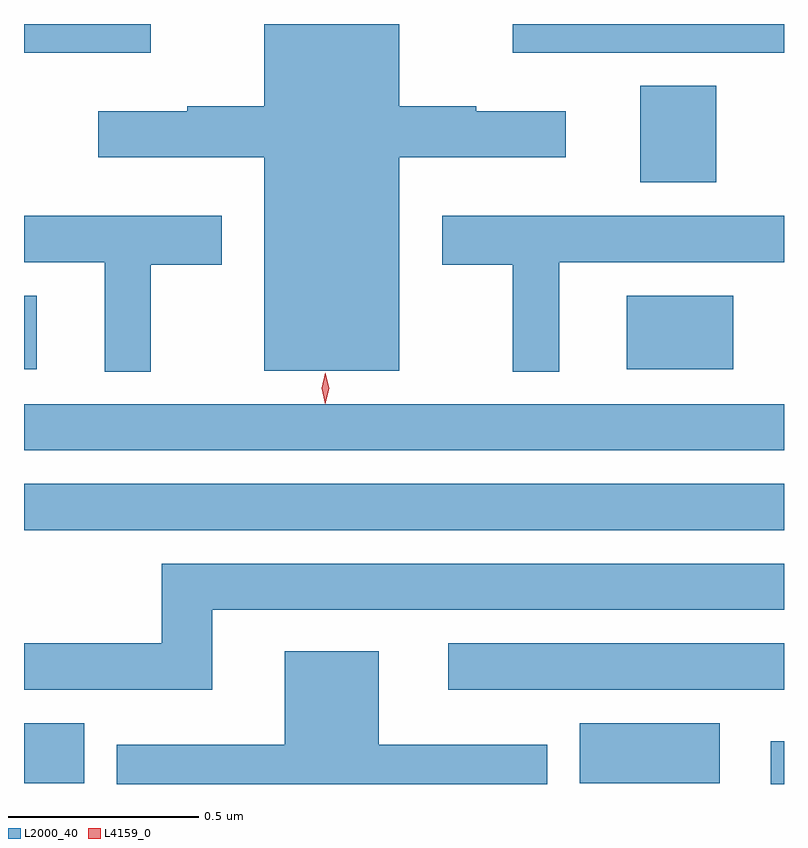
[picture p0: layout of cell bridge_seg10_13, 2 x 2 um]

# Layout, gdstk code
import gdstk
lib = gdstk.Library(unit=1e-6, precision=1e-09)
def R(c, l, rs):  # rectangles x0, y0, x1, y1
    for r in rs: c.add(gdstk.rectangle(r[:2], r[2:], *l))
def P(c, l, *ps):  # polygons
    for p in ps: c.add(gdstk.Polygon(p, *l))
L2000_40 = (2000, 40)
L4159_0 = (4159, 0)

bridge_seg10_13 = lib.new_cell('bridge_seg10_13')
R(bridge_seg10_13, L2000_40, [(1057.755,1277.322,1057.79,1277.434), (1055.79,1277.324,1055.949,1277.482), (1057.252,1277.324,1057.621,1277.482), (1056.906,1277.57,1057.79,1277.692), (1055.79,1277.99,1057.79,1278.112), (1055.79,1278.2,1057.79,1278.322), (1055.79,1278.413,1055.824,1278.607), (1057.376,1278.413,1057.657,1278.607), (1057.412,1278.905,1057.612,1279.159), (1055.79,1279.247,1056.124,1279.322), (1057.076,1279.247,1057.79,1279.322)])
P(bridge_seg10_13, L2000_40, [(1056.778,1278.971),(1057.216,1278.971),(1057.216,1279.093),(1056.98,1279.093),(1056.98,1279.106),(1056.778,1279.106),(1056.778,1279.322),(1056.422,1279.322),(1056.422,1279.106),(1056.22,1279.106),(1056.22,1279.093),(1055.985,1279.093),(1055.985,1278.971),(1056.422,1278.971),(1056.422,1278.41),(1056.778,1278.41)],
  [(1057.198,1278.695),(1057.79,1278.695),(1057.79,1278.817),(1056.891,1278.817),(1056.891,1278.688),(1057.076,1278.688),(1057.076,1278.407),(1057.198,1278.407)],
  [(1056.124,1278.688),(1056.31,1278.688),(1056.31,1278.817),(1055.79,1278.817),(1055.79,1278.695),(1056.002,1278.695),(1056.002,1278.407),(1056.124,1278.407)],
  [(1056.286,1277.78),(1057.79,1277.78),(1057.79,1277.902),(1056.152,1277.902),(1056.152,1277.692),(1055.79,1277.692),(1055.79,1277.57),(1056.286,1277.57)],
  [(1057.167,1277.425),(1056.724,1277.425),(1056.724,1277.671),(1056.476,1277.671),(1056.476,1277.425),(1056.034,1277.425),(1056.034,1277.322),(1057.167,1277.322)])
P(bridge_seg10_13, L4159_0, [(1056.583,1278.321),(1056.583,1278.322),(1056.573,1278.363),(1056.583,1278.404),(1056.583,1278.404),(1056.583,1278.404),(1056.593,1278.363),(1056.583,1278.322)])

lib.write_gds('bridge_seg10_13.gds')
